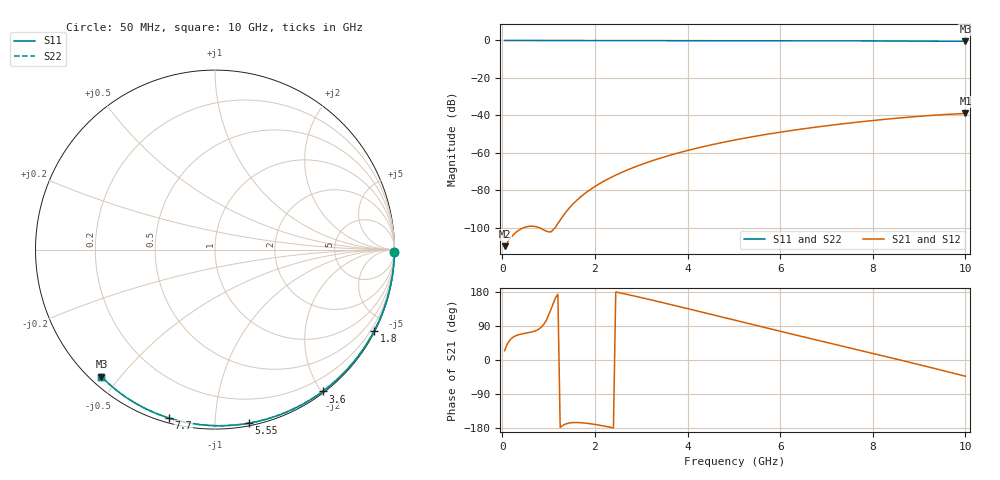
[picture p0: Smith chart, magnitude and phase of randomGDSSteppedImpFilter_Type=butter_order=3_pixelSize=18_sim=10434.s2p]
! freq	dB(S11)	phase(S11)	dB(S12)	phase(S12)
!  dB(S21)	phase(S21)	dB(S22)	phase(S22)
!S-par simulation data
#  GHz  S  DB  R 50
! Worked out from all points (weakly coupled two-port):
!   200 points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, 50 MHz to 10 GHz, reference 50 ohm
!   highest |S21| = -38.99 dB at 10 GHz (marker M1); lowest = -109.9 dB at 50 MHz (marker M2)
!   lowest |S11| = -0.5 dB at 10 GHz (marker M3), VSWR 38.46, Z = 1.56 - j22.4 ohm
!   |S11| at or under -10 dB: nowhere
!   |S22| runs from -0.5 to 0.0 dB; largest |S21 - S12| = 0
!   S11 on the Smith chart (normalised r, x): 50 MHz: open; 1.8 GHz: 0.04, -4.16; 3.6 GHz: 0.02, -2.01; 5.55 GHz: 0.02, -1.21; 7.7 GHz: 0.02, -0.76; 10 GHz: 0.03, -0.45
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0.05  -0.00 -0.8  -109.88 24.7  -109.88 24.7  -0.00 -0.8
0.9  -0.02 -13.6  -101.26 95.0  -101.26 95.0  -0.02 -13.6
1.75  -0.03 -26.3  -82.37 -166.0  -82.37 -166.0  -0.03 -26.3
1.8  -0.03 -27.0  -81.42 -166.6  -81.42 -166.6  -0.03 -27.0
1.85  -0.04 -27.8  -80.51 -167.4  -80.51 -167.4  -0.04 -27.8
1.9  -0.04 -28.5  -79.64 -168.2  -79.64 -168.2  -0.04 -28.5
2.05  -0.04 -30.7  -77.23 -171.1  -77.23 -171.1  -0.04 -30.7
2.25  -0.04 -33.6  -74.41 -175.5  -74.41 -175.5  -0.04 -33.6
2.45  -0.05 -36.5  -71.92 179.5  -71.92 179.5  -0.05 -36.5
2.65  -0.05 -39.4  -69.70 174.3  -69.70 174.3  -0.05 -39.4
3  -0.06 -44.4  -66.29 164.7  -66.29 164.7  -0.06 -44.4
3.4  -0.07 -50.1  -62.96 153.3  -62.96 153.3  -0.07 -50.1
3.6  -0.07 -52.8  -61.47 147.4  -61.47 147.4  -0.07 -52.8
4.3  -0.09 -62.5  -56.96 126.7  -56.96 126.7  -0.09 -62.5
5.05  -0.11 -72.4  -53.03 104.2  -53.03 104.2  -0.11 -72.4
5.55  -0.13 -78.9  -50.79 89.2  -50.79 89.2  -0.13 -78.9
6.1  -0.15 -85.9  -48.62 72.9  -48.62 72.9  -0.15 -85.9
6.7  -0.18 -93.3  -46.53 55.2  -46.53 55.2  -0.18 -93.3
7.7  -0.24 -105.4  -43.56 26.1  -43.56 26.1  -0.24 -105.4
8.35  -0.29 -113.0  -41.91 7.1  -41.91 7.1  -0.29 -113.0
9.2  -0.36 -122.8  -40.14 -18.3  -40.14 -18.3  -0.36 -122.8
10  -0.45 -131.8  -38.99 -42.8  -38.99 -42.8  -0.45 -131.8
